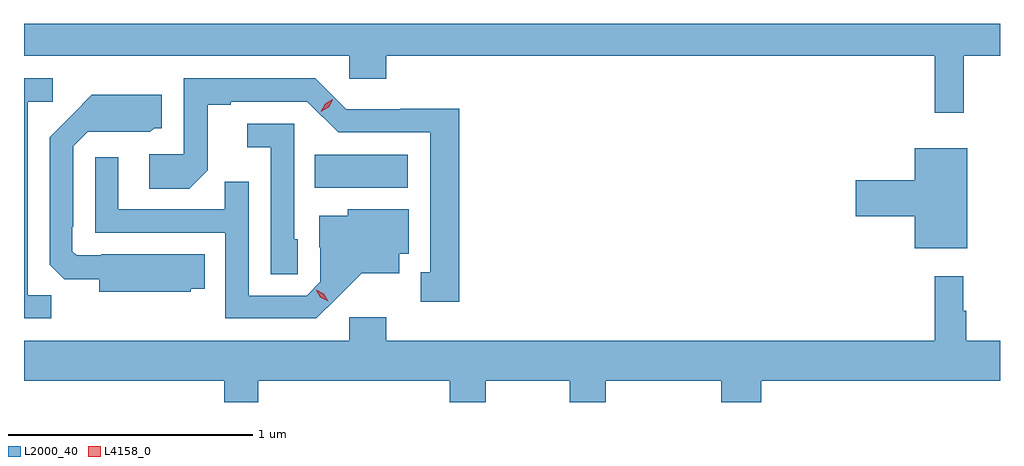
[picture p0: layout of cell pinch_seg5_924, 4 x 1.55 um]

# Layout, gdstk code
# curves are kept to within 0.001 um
import gdstk
lib = gdstk.Library(unit=1e-6, precision=1e-09)
def R(c, l, rs):  # rectangles x0, y0, x1, y1
    for r in rs: c.add(gdstk.rectangle(r[:2], r[2:], *l))
def P(c, l, *ps):  # polygons
    for p in ps: c.add(gdstk.Polygon(p, *l))
L2000_40 = (2000, 40)
L4158_0 = (4158, 0)

pinch_seg5_924 = lib.new_cell('pinch_seg5_924')
R(pinch_seg5_924, L2000_40, [(678.826,914.828,679.207,914.962)])
P(pinch_seg5_924, L2000_40, [(681.485,915.368),(681.634,915.368),(681.634,915.5),(677.634,915.5),(677.634,915.368),(678.966,915.368),(678.966,915.275),(679.118,915.275),(679.118,915.368),(681.367,915.368),(681.367,915.135),(681.485,915.135)],
  [(677.745,914.387),(677.649,914.387),(677.649,915.18),(677.752,915.18),(677.752,915.276),(677.634,915.276),(677.634,914.292),(677.745,914.292)],
  [(679.417,915.152),(679.176,915.152),(679.176,915.15),(678.954,915.15),(678.828,915.276),(678.288,915.276),(678.288,914.964),(678.147,914.964),(678.147,914.824),(678.311,914.824),(678.387,914.9),(678.387,915.168),(678.481,915.168),(678.481,915.18),(678.795,915.18),(678.921,915.054),(679.298,915.054),(679.298,914.481),(679.259,914.481),(679.259,914.361),(679.417,914.361)],
  [(678.318,914.414),(678.374,914.414),(678.374,914.554),(677.95,914.554),(677.95,914.55),(677.85,914.55),(677.832,914.568),(677.832,914.668),(677.835,914.668),(677.835,914.997),(677.895,915.057),(678.152,915.056),(678.168,915.072),(678.199,915.072),(678.199,915.208),(677.911,915.208),(677.739,915.034),(677.739,914.512),(677.798,914.453),(677.942,914.453),(677.942,914.402),(678.318,914.402)],
  [(678.756,914.616),(678.741,914.616),(678.741,915.09),(678.549,915.09),(678.549,914.993),(678.645,914.993),(678.645,914.473),(678.756,914.473)],
  [(681.499,914.989),(681.284,914.989),(681.284,914.858),(681.042,914.858),(681.042,914.711),(681.284,914.711),(681.284,914.579),(681.499,914.579)],
  [(678.916,914.375),(679.019,914.477),(679.171,914.477),(679.171,914.556),(679.21,914.556),(679.21,914.74),(678.96,914.74),(678.96,914.713),(678.845,914.713),(678.845,914.584),(678.849,914.584),(678.849,914.442),(678.792,914.385),(678.555,914.385),(678.555,914.852),(678.457,914.852),(678.457,914.739),(678.021,914.739),(678.021,914.953),(677.925,914.953),(677.925,914.643),(678.459,914.643),(678.459,914.292),(678.832,914.292)],
  [(678.595,914.036),(679.379,914.036),(679.379,913.948),(679.527,913.948),(679.527,914.036),(679.871,914.036),(679.871,913.948),(680.019,913.948),(680.019,914.036),(680.492,914.036),(680.492,913.948),(680.656,913.948),(680.656,914.036),(681.634,914.036),(681.634,914.2),(681.496,914.2),(681.496,914.324),(681.484,914.324),(681.484,914.464),(681.367,914.464),(681.367,914.2),(679.118,914.2),(679.118,914.296),(678.966,914.296),(678.966,914.2),(677.634,914.2),(677.634,914.036),(678.455,914.036),(678.455,913.948),(678.595,913.948)])
P(pinch_seg5_924, L4158_0, [(678.85,915.139),(678.85,915.139),(678.868,915.171),(678.899,915.19),(678.9,915.19),(678.9,915.189),(678.882,915.157),(678.85,915.139)],
  [(678.88,914.363),(678.849,914.379),(678.832,914.408),(678.832,914.409),(678.832,914.409),(678.863,914.393),(678.88,914.363),(678.88,914.363)])

lib.write_gds('pinch_seg5_924.gds')
